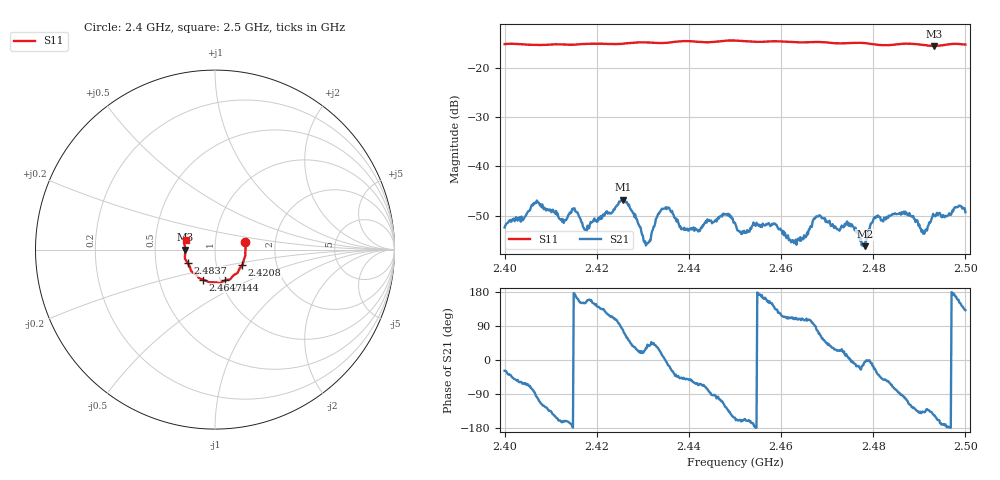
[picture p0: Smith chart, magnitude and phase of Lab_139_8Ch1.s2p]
# Hz S RI R 50
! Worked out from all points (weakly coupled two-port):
!   601 points, 2.4 GHz to 2.5 GHz, reference 50 ohm
!   highest |S21| = -46.74 dB at 2.4257 GHz (marker M1); lowest = -56.1 dB at 2.4782 GHz (marker M2)
!   lowest |S11| = -15.6 dB at 2.4932 GHz (marker M3), VSWR 1.40, Z = 35.8 - j0.0768 ohm
!   |S11| at or under -10 dB: start of sweep to end of sweep
!   S12 and S22 are empty: the file has one direction only
!   S11 on the Smith chart (normalised r, x): 2.4 GHz: 1.40, +0.12; 2.4208 GHz: 1.33, -0.24; 2.444 GHz: 1.06, -0.37; 2.4647 GHz: 0.83, -0.29; 2.4837 GHz: 0.73, -0.11; 2.5 GHz: 0.72, +0.08
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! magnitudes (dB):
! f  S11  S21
! 2.4 GHz  -15.3  -52.3
! 2.4068 GHz  -15.4  -47.4
! 2.4167 GHz  -15.2  -51.3
! 2.4208 GHz  -15.2  -50.0
! 2.4257 GHz  -15.2  -46.7
! 2.4307 GHz  -14.9  -56.0
! 2.4333 GHz  -15.0  -49.6
! 2.4355 GHz  -15.0  -48.4
! 2.4397 GHz  -14.6  -52.6
! 2.444 GHz  -14.9  -50.7
! 2.45 GHz  -14.5  -51.4
! 2.4647 GHz  -14.9  -54.5
! 2.4667 GHz  -14.8  -52.2
! 2.4748 GHz  -15.0  -51.5
! 2.4782 GHz  -15.0  -56.1
! 2.4805 GHz  -15.3  -50.5
! 2.4833 GHz  -15.5  -49.9
! 2.4837 GHz  -15.4  -50.0
! 2.4875 GHz  -15.2  -49.8
! 2.491 GHz  -15.4  -53.6
! 2.4932 GHz  -15.6  -49.9
! 2.5 GHz  -15.3  -49.3
